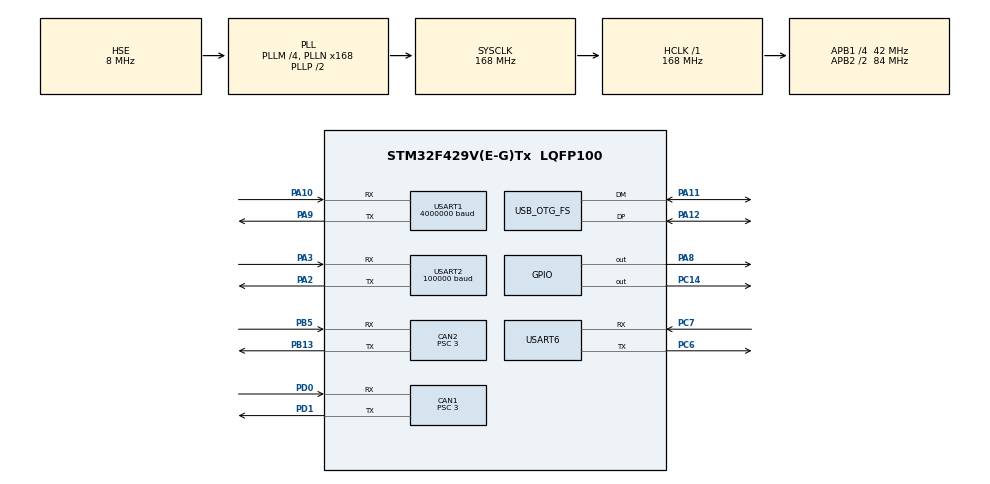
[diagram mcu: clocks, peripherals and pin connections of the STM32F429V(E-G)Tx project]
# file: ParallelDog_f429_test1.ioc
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CAN1.BS1=CAN_BS1_10TQ
CAN1.BS2=CAN_BS2_3TQ
CAN1.CalculateBaudRate=1000000
CAN1.CalculateTimeBit=1000
CAN1.CalculateTimeQuantum=71.42857142857143
CAN1.Prescaler=3
CAN2.BS1=CAN_BS1_10TQ
CAN2.BS2=CAN_BS2_3TQ
CAN2.CalculateBaudRate=1000000
CAN2.CalculateTimeBit=1000
CAN2.CalculateTimeQuantum=71.42857142857143
CAN2.Prescaler=3
Dma.Request0=USART2_RX
Dma.Request1=USART1_RX
Dma.USART1_RX.1.Direction=DMA_PERIPH_TO_MEMORY
Dma.USART1_RX.1.FIFOMode=DMA_FIFOMODE_DISABLE
Dma.USART1_RX.1.Instance=DMA2_Stream2
Dma.USART1_RX.1.MemDataAlignment=DMA_MDATAALIGN_BYTE
Dma.USART1_RX.1.MemInc=DMA_MINC_ENABLE
Dma.USART1_RX.1.Mode=DMA_CIRCULAR
Dma.USART1_RX.1.PeriphDataAlignment=DMA_PDATAALIGN_BYTE
Dma.USART1_RX.1.PeriphInc=DMA_PINC_DISABLE
Dma.USART1_RX.1.Priority=DMA_PRIORITY_LOW
Dma.USART2_RX.0.Direction=DMA_PERIPH_TO_MEMORY
Dma.USART2_RX.0.FIFOMode=DMA_FIFOMODE_DISABLE
Dma.USART2_RX.0.Instance=DMA1_Stream5
Dma.USART2_RX.0.MemDataAlignment=DMA_MDATAALIGN_BYTE
Dma.USART2_RX.0.MemInc=DMA_MINC_ENABLE
Dma.USART2_RX.0.Mode=DMA_CIRCULAR
Dma.USART2_RX.0.PeriphDataAlignment=DMA_PDATAALIGN_BYTE
Dma.USART2_RX.0.PeriphInc=DMA_PINC_DISABLE
Dma.USART2_RX.0.Priority=DMA_PRIORITY_LOW
FREERTOS.Tasks01=defaultTask,1,256,StartDefaultTask,Default,NULL,Dynamic,NULL,NULL;CalculateTask,0,512,calculateFunc,Default,NULL,Dynamic,NULL,NULL;RemoteContrlTas,0,256,RC_Ctrl,Default,NULL,Dynamic,NULL,NULL
Mcu.Family=STM32F4
Mcu.Name=STM32F429V(E-G)Tx
Mcu.Package=LQFP100
NVIC.DMA1_Stream5_IRQn=true\:5\:0\:false\:false\:true\:true\:false\:true\:true
NVIC.DMA2_Stream2_IRQn=true\:5\:0\:false\:false\:true\:true\:false\:true\:true
NVIC.OTG_FS_IRQn=true\:15\:0\:true\:false\:true\:true\:false\:true\:true
NVIC.PriorityGroup=NVIC_PRIORITYGROUP_4
NVIC.TIM8_TRG_COM_TIM14_IRQn=true\:5\:0\:true\:false\:true\:false\:false\:true\:true
NVIC.TimeBase=TIM8_TRG_COM_TIM14_IRQn
NVIC.TimeBaseIP=TIM14
NVIC.USART1_IRQn=true\:5\:0\:false\:false\:true\:true\:true\:true\:true
NVIC.USART2_IRQn=true\:5\:0\:false\:false\:true\:true\:true\:true\:true
PA10.Mode=Asynchronous
PA10.Signal=USART1_RX
PA11.Mode=Device_Only
PA11.Signal=USB_OTG_FS_DM
PA12.Mode=Device_Only
PA12.Signal=USB_OTG_FS_DP
PA13.Mode=Serial_Wire
PA13.Signal=SYS_JTMS-SWDIO
PA14.Mode=Serial_Wire
PA14.Signal=SYS_JTCK-SWCLK
PA2.Mode=Asynchronous
PA2.Signal=USART2_TX
PA3.Mode=Asynchronous
PA3.Signal=USART2_RX
PA8.Signal=GPIO_Output
PA9.Mode=Asynchronous
PA9.Signal=USART1_TX
PB13.Mode=CAN_Activate
PB13.Signal=CAN2_TX
PB5.Mode=CAN_Activate
PB5.Signal=CAN2_RX
PC14/OSC32_IN.Signal=GPIO_Output
PC6.Mode=Asynchronous
PC6.Signal=USART6_TX
PC7.Mode=Asynchronous
PC7.Signal=USART6_RX
PD0.Mode=CAN_Activate
PD0.Signal=CAN1_RX
PD1.Mode=CAN_Activate
PD1.Signal=CAN1_TX
PH0/OSC_IN.Mode=HSE-External-Oscillator
PH0/OSC_IN.Signal=RCC_OSC_IN
PH1/OSC_OUT.Mode=HSE-External-Oscillator
PH1/OSC_OUT.Signal=RCC_OSC_OUT
ProjectManager.HeapSize=0x200
ProjectManager.StackSize=0x400
ProjectManager.TargetToolchain=MDK-ARM V5.32
RCC.48MHZClocksFreq_Value=48000000
RCC.AHBFreq_Value=168000000
RCC.APB1CLKDivider=RCC_HCLK_DIV4
RCC.APB1Freq_Value=42000000
RCC.APB1TimFreq_Value=84000000
RCC.APB2CLKDivider=RCC_HCLK_DIV2
RCC.APB2Freq_Value=84000000
RCC.APB2TimFreq_Value=168000000
RCC.CortexFreq_Value=168000000
RCC.HCLKFreq_Value=168000000
RCC.HSE_VALUE=8000000
RCC.HSI_VALUE=16000000
RCC.LSE_VALUE=32768
RCC.PLLM=4
RCC.PLLN=168
RCC.PLLQ=7
RCC.SYSCLKFreq_VALUE=168000000
RCC.SYSCLKSource=RCC_SYSCLKSOURCE_PLLCLK
RCC.VCOOutputFreq_Value=336000000
USART1.BaudRate=4000000
USART1.VirtualMode=VM_ASYNC
USART2.BaudRate=100000
USART2.Parity=PARITY_EVEN
USART2.StopBits=STOPBITS_1
USART2.VirtualMode=VM_ASYNC
USART2.WordLength=WORDLENGTH_9B
USART6.VirtualMode=VM_ASYNC
USB_DEVICE.APP_RX_DATA_SIZE-CDC_FS=512
USB_DEVICE.APP_TX_DATA_SIZE-CDC_FS=512
USB_DEVICE.CLASS_NAME_FS=CDC
USB_DEVICE.VirtualMode-CDC_FS=Cdc
USB_DEVICE.VirtualModeFS=Cdc_FS
USB_OTG_FS.VirtualMode=Device_Only
VP_FREERTOS_VS_CMSIS_V1.Mode=CMSIS_V1
VP_SYS_VS_tim14.Mode=TIM14
VP_USB_DEVICE_VS_USB_DEVICE_CDC_FS.Mode=CDC_FS
board=custom

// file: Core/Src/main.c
/* USER CODE BEGIN Header */
/**
  ******************************************************************************
  * @file           : main.c
  * @brief          : Main program body
  ******************************************************************************
  * @attention
  *
  * Copyright (c) 2025 STMicroelectronics.
  * All rights reserved.
  *
  * This software is licensed under terms that can be found in the LICENSE file
  * in the root directory of this software component.
  * If no LICENSE file comes with this software, it is provided AS-IS.
  *
  ******************************************************************************
  */
/* USER CODE END Header */
#include "main.h"
#include "cmsis_os.h"
#include "can.h"
#include "dma.h"
#include "usart.h"
#include "usb_device.h"
#include "gpio.h"

/* USER CODE BEGIN Includes */
#include "motor_control.h"
#include "postrue_control.h"
#include "math.h"
/* USER CODE END Includes */

/* USER CODE BEGIN PV */
MOTOR_send cmd;
MOTOR_recv data;
/* USER CODE END PV */

void SystemClock_Config(void);
void MX_FREERTOS_Init(void);

int main(void)
{

  /* MCU Configuration--------------------------------------------------------*/

  /* Reset of all peripherals, Initializes the Flash interface and the Systick. */
  HAL_Init();

  /* Configure the system clock */
  SystemClock_Config();

  /* Initialize all configured peripherals */
  MX_GPIO_Init();
  MX_DMA_Init();
  MX_USART1_UART_Init();
  MX_USART2_UART_Init();
  MX_USART6_UART_Init();
  MX_CAN2_Init();
  MX_CAN1_Init();
  /* USER CODE BEGIN 2 */
	HAL_Delay(4000);
  /* USER CODE END 2 */

  /* Call init function for freertos objects (in cmsis_os2.c) */
  MX_FREERTOS_Init();

  /* Start scheduler */
  osKernelStart();

  /* We should never get here as control is now taken by the scheduler */

  /* Infinite loop */
  /* USER CODE BEGIN WHILE */
while (1){

	HAL_Delay(100);
    /* USER CODE END WHILE */

  }
}

void SystemClock_Config(void)
{
  RCC_OscInitTypeDef RCC_OscInitStruct = {0};
  RCC_ClkInitTypeDef RCC_ClkInitStruct = {0};

  /** Configure the main internal regulator output voltage
  */
  __HAL_RCC_PWR_CLK_ENABLE();
  __HAL_PWR_VOLTAGESCALING_CONFIG(PWR_REGULATOR_VOLTAGE_SCALE1);

  /** Initializes the RCC Oscillators according to the specified parameters
  * in the RCC_OscInitTypeDef structure.
  */
  RCC_OscInitStruct.OscillatorType = RCC_OSCILLATORTYPE_HSE;
  RCC_OscInitStruct.HSEState = RCC_HSE_ON;
  RCC_OscInitStruct.PLL.PLLState = RCC_PLL_ON;
  RCC_OscInitStruct.PLL.PLLSource = RCC_PLLSOURCE_HSE;
  RCC_OscInitStruct.PLL.PLLM = 4;
  RCC_OscInitStruct.PLL.PLLN = 168;
  RCC_OscInitStruct.PLL.PLLP = RCC_PLLP_DIV2;
  RCC_OscInitStruct.PLL.PLLQ = 7;
  if (HAL_RCC_OscConfig(&RCC_OscInitStruct) != HAL_OK)
  {
    Error_Handler();
  }

  /** Initializes the CPU, AHB and APB buses clocks
  */
  RCC_ClkInitStruct.ClockType = RCC_CLOCKTYPE_HCLK|RCC_CLOCKTYPE_SYSCLK
                              |RCC_CLOCKTYPE_PCLK1|RCC_CLOCKTYPE_PCLK2;
  RCC_ClkInitStruct.SYSCLKSource = RCC_SYSCLKSOURCE_PLLCLK;
  RCC_ClkInitStruct.AHBCLKDivider = RCC_SYSCLK_DIV1;
  RCC_ClkInitStruct.APB1CLKDivider = RCC_HCLK_DIV4;
  RCC_ClkInitStruct.APB2CLKDivider = RCC_HCLK_DIV2;

  if (HAL_RCC_ClockConfig(&RCC_ClkInitStruct, FLASH_LATENCY_5) != HAL_OK)
  {
    Error_Handler();
  }
}

void HAL_TIM_PeriodElapsedCallback(TIM_HandleTypeDef *htim)
{
  if (htim->Instance == TIM14)
  {
    HAL_IncTick();
  }
}

void Error_Handler(void)
{
  __disable_irq();
  while (1)
  {
  }
}

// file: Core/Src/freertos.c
/* USER CODE BEGIN Header */
/**
  ******************************************************************************
  * File Name          : freertos.c
  * Description        : Code for freertos applications
  ******************************************************************************
  * @attention
  *
  * Copyright (c) 2025 STMicroelectronics.
  * All rights reserved.
  *
  * This software is licensed under terms that can be found in the LICENSE file
  * in the root directory of this software component.
  * If no LICENSE file comes with this software, it is provided AS-IS.
  *
  ******************************************************************************
  */
/* USER CODE END Header */

#include "FreeRTOS.h"
#include "task.h"
#include "main.h"
#include "cmsis_os.h"

/* USER CODE BEGIN Includes */
#include "queue.h"
#include "motor_control.h"
#include "postrue_control.h"
#include "math.h"
#include "rc.h"
#include "bsp_sbus.h"
#include "usart.h"
#include "usbd_cdc_if.h"
#include <string.h>
#include "hwt605.h"

/* USER CODE END Includes */

/* USER CODE BEGIN PD */
#define RC_AUTO_ENABLE 0//1=RC;0=AUTO

/* USER CODE END PD */

/* USER CODE BEGIN Variables */
Dog dog;
uint8_t Rx_Temp=0;
QueueHandle_t leg1_pidHandle;
extern wit_t angle;
unsigned char buf[64]={0};

/* USER CODE END Variables */
osThreadId defaultTaskHandle;
osThreadId CalculateTaskHandle;
osThreadId RemoteContrlTasHandle;

void StartDefaultTask(void const * argument);
void calculateFunc(void const * argument);
void RC_Ctrl(void const * argument);

extern void MX_USB_DEVICE_Init(void);
void MX_FREERTOS_Init(void); /* (MISRA C 2004 rule 8.1) */

/* GetIdleTaskMemory prototype (linked to static allocation support) */
void vApplicationGetIdleTaskMemory( StaticTask_t **ppxIdleTaskTCBBuffer, StackType_t **ppxIdleTaskStackBuffer, uint32_t *pulIdleTaskStackSize );

/* USER CODE BEGIN GET_IDLE_TASK_MEMORY */
static StaticTask_t xIdleTaskTCBBuffer;
static StackType_t xIdleStack[configMINIMAL_STACK_SIZE];

void vApplicationGetIdleTaskMemory( StaticTask_t **ppxIdleTaskTCBBuffer, StackType_t **ppxIdleTaskStackBuffer, uint32_t *pulIdleTaskStackSize )
{
  *ppxIdleTaskTCBBuffer = &xIdleTaskTCBBuffer;
  *ppxIdleTaskStackBuffer = &xIdleStack[0];
  *pulIdleTaskStackSize = configMINIMAL_STACK_SIZE;
  /* place for user code */
}
/* USER CODE END GET_IDLE_TASK_MEMORY */

void MX_FREERTOS_Init(void) {

  /* Create the thread(s) */
  /* definition and creation of defaultTask */
  osThreadDef(defaultTask, StartDefaultTask, osPriorityAboveNormal, 0, 256);
  defaultTaskHandle = osThreadCreate(osThread(defaultTask), NULL);

  /* definition and creation of CalculateTask */
  osThreadDef(CalculateTask, calculateFunc, osPriorityNormal, 0, 512);
  CalculateTaskHandle = osThreadCreate(osThread(CalculateTask), NULL);

  /* definition and creation of RemoteContrlTas */
  osThreadDef(RemoteContrlTas, RC_Ctrl, osPriorityNormal, 0, 256);
  RemoteContrlTasHandle = osThreadCreate(osThread(RemoteContrlTas), NULL);

}

void StartDefaultTask(void const
  /* init code for USB_DEVICE */
  MX_USB_DEVICE_Init();
  /* USER CODE BEGIN StartDefaultTask */
	hwt605_Init();
	HAL_UART_Receive_IT(&huart2, (uint8_t *)&Rx_Temp, 1);
  /* Infinite loop */
  for(;;)
  {
		// VCP_Read(buf, 64);
		// CDC_Transmit_FS(buf, sizeof(buf));
		osDelay(1000);
  }
  /* USER CODE END StartDefaultTask */
}

void calculateFunc(void const * argument)
{
  /* USER CODE BEGIN calculateFunc */
	Dog_ParaInit(&dog);
  /* Infinite loop */
  for(;;)
  {
	dogTaskCtrl(&dog);
	osDelay(10);
  }
  /* USER CODE END calculateFunc */
}

void RC_Ctrl(void const * argument)
{
  /* USER CODE BEGIN RC_Ctrl */

  /* Infinite loop */
  for(;;)
  {
	rc_remote_ctrl(&dog);
	osDelay(10);
  }
  /* USER CODE END RC_Ctrl */
}

/* USER CODE BEGIN Application */
void HAL_UART_RxCpltCallback(UART_HandleTypeDef *huart)
{
	if(huart == &huart2)
	{
		SBUS_Reveive(Rx_Temp);
		HAL_UART_Receive_IT(&huart2, (uint8_t *)&Rx_Temp, 1);
	}
}
/* USER CODE END Application */
